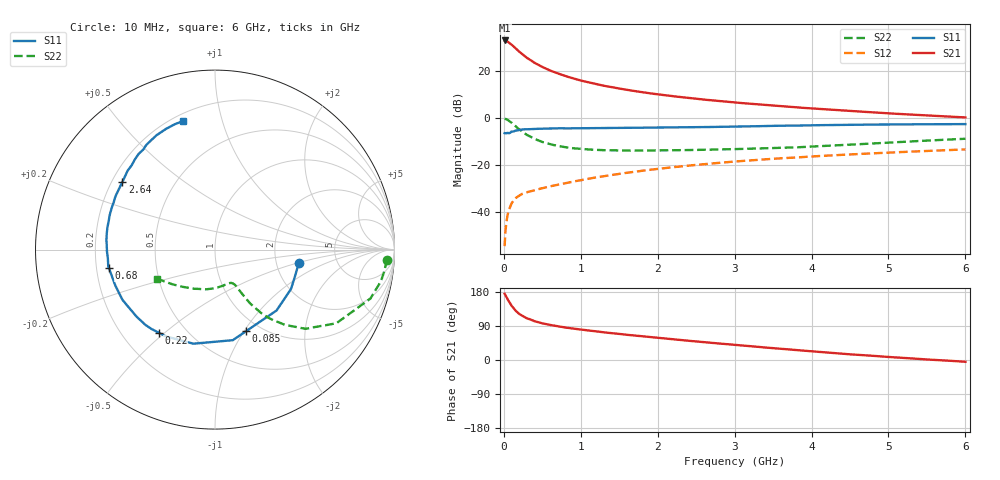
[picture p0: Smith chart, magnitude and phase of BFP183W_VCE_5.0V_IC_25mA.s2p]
! Infineon Technologies  Discrete & RF Semiconductors
! BFP183W
! VCE = 5.0 V,  IC =  25 mA
! Common Emitter S-Parameters:  Jan 2016
# GHz  S  MA  R  50
!  f  S11  S21  S12  S22
! GHz  MAG  ANG  MAG  ANG  MAG  ANG  MAG  ANG
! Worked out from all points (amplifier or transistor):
!   210 points, 10 MHz to 6 GHz, reference 50 ohm
!   highest |S21| = 32.8 dB at 10 MHz (marker M1)
!   |S21| within 3 dB of that: start of sweep to 142.2 MHz
!   unconditionally stable (mu >= 1): 878.1 MHz to 4.974 GHz
!   at 185 MHz: K = 0.38, MSG = 30.9 dB, |S12| = -33.3 dB
!   at 1.52 GHz: K = 1.12, MAG = 15.8 dB, |S12| = -23.6 dB
!   at 6 GHz: K = 0.96, MSG = 6.8 dB, |S12| = -13.4 dB
!   S11 on the Smith chart (normalised r, x): 10 MHz: 2.68, -0.51; 85 MHz: 0.85, -1.02; 220 MHz: 0.35, -0.48; 680 MHz: 0.25, -0.08; 2.64 GHz: 0.24, +0.31; 6 GHz: 0.24, +0.75
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0.01  0.4729 -9.0  43.89 174.6  0.0019 84.6  0.9589 -3.3
0.02  0.4698 -18.4  43.59 171.5  0.0038 80.2  0.9515 -7.1
0.03  0.477 -27.4  43.23 167.5  0.0054 78.3  0.9415 -10.7
0.05  0.4824 -44.7  41.54 159.5  0.009 73.4  0.9078 -17.5
0.085  0.4866 -69.3  37.32 148.5  0.0134 64.6  0.8207 -26.8
0.1  0.5143 -78.9  36 143.1  0.0154 62.4  0.7909 -31.3
0.15  0.5378 -102.9  30.29 130.4  0.0197 54.9  0.6699 -41.2
0.2  0.5557 -119.5  25.41 121.5  0.0224 50.0  0.5705 -47.2
0.22  0.5592 -124.2  23.9 119.1  0.0234 49.4  0.5398 -48.7
0.26  0.5712 -132.8  21.12 114.1  0.0253 48.1  0.4829 -51.9
0.3  0.575 -139.6  18.74 109.9  0.0265 46.8  0.4359 -54.0
0.4  0.5867 -151.5  14.69 102.3  0.0291 47.3  0.3574 -56.9
0.5  0.5902 -160.0  12.03 96.7  0.0323 48.4  0.308 -58.1
0.68  0.6001 -170.2  9.057 89.7  0.0375 51.5  0.2585 -59.2
1.02  0.6036 177.6  6.087 79.8  0.0482 55.2  0.2186 -61.4
1.4  0.6121 168.2  4.474 70.9  0.0614 57.1  0.205 -65.1
2.02  0.6228 155.0  3.13 58.1  0.0836 57.0  0.2039 -74.4
2.64  0.6389 143.9  2.409 46.3  0.1056 54.7  0.2114 -86.0
3.1  0.6578 136.3  2.058 38.3  0.1219 52.2  0.2195 -96.1
4.1  0.7006 122.0  1.552 21.6  0.1552 46.1  0.2503 -120.1
5.1  0.7272 111.2  1.222 6.8  0.1865 39.6  0.3052 -140.6
6  0.7382 104.0  1.023 -4.7  0.2143 34.1  0.3608 -153.4
